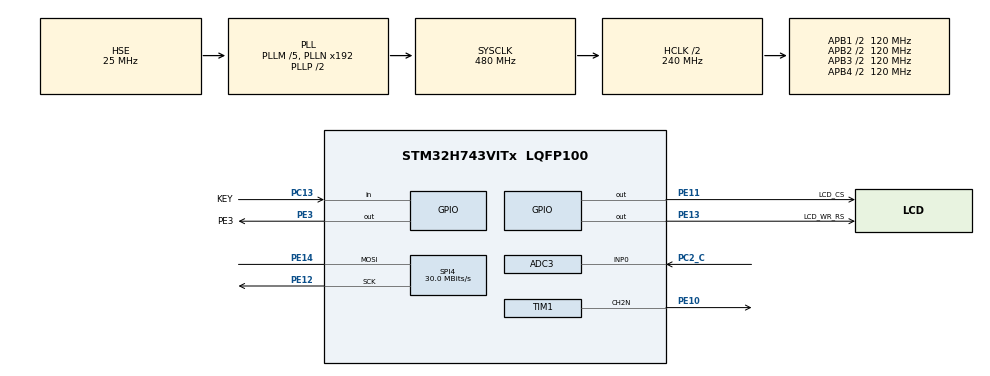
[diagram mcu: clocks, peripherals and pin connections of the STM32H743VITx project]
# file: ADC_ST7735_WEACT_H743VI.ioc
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ADC3.Channel-6\#ChannelRegularConversion=ADC_CHANNEL_0
ADC3.ContinuousConvMode=DISABLE
ADC3.NbrOfConversionFlag=1
ADC3.OffsetNumber-6\#ChannelRegularConversion=ADC_OFFSET_NONE
ADC3.OffsetSignedSaturation-6\#ChannelRegularConversion=DISABLE
ADC3.Rank-6\#ChannelRegularConversion=1
ADC3.SamplingTime-6\#ChannelRegularConversion=ADC_SAMPLETIME_1CYCLE_5
CORTEX_M7.default_mode_Activation=1
Mcu.Family=STM32H7
Mcu.Name=STM32H743VITx
Mcu.Package=LQFP100
NVIC.PriorityGroup=NVIC_PRIORITYGROUP_4
PC13.GPIO_Label=KEY
PC13.GPIO_PuPd=GPIO_PULLDOWN
PC13.Signal=GPIO_Input
PC14-OSC32_IN\ (OSC32_IN).Mode=LSE-External-Oscillator
PC14-OSC32_IN\ (OSC32_IN).Signal=RCC_OSC32_IN
PC15-OSC32_OUT\ (OSC32_OUT).Mode=LSE-External-Oscillator
PC15-OSC32_OUT\ (OSC32_OUT).Signal=RCC_OSC32_OUT
PC2_C.Mode=IN0-Single-Ended
PC2_C.Signal=ADC3_INP0
PE10.Mode=PWM Generation2 CH2N
PE10.Signal=TIM1_CH2N
PE11.GPIO_Label=LCD_CS
PE11.GPIO_Speed=GPIO_SPEED_FREQ_VERY_HIGH
PE11.PinState=GPIO_PIN_SET
PE11.Signal=GPIO_Output
PE12.GPIO_Speed=GPIO_SPEED_FREQ_MEDIUM
PE12.Mode=Simplex_Bidirectional_Master
PE12.Signal=SPI4_SCK
PE13.GPIO_Label=LCD_WR_RS
PE13.GPIO_Speed=GPIO_SPEED_FREQ_VERY_HIGH
PE13.PinState=GPIO_PIN_SET
PE13.Signal=GPIO_Output
PE14.GPIO_Speed=GPIO_SPEED_FREQ_MEDIUM
PE14.Mode=Simplex_Bidirectional_Master
PE14.Signal=SPI4_MOSI
PE3.GPIO_Label=PE3
PE3.Signal=GPIO_Output
PH0-OSC_IN\ (PH0).Mode=HSE-External-Oscillator
PH0-OSC_IN\ (PH0).Signal=RCC_OSC_IN
PH1-OSC_OUT\ (PH1).Mode=HSE-External-Oscillator
PH1-OSC_OUT\ (PH1).Signal=RCC_OSC_OUT
ProjectManager.HeapSize=0x200
ProjectManager.StackSize=0x400
ProjectManager.TargetToolchain=STM32CubeIDE
RCC.ADCFreq_Value=75000000
RCC.APB1Freq_Value=120000000
RCC.APB2Freq_Value=120000000
RCC.APB3Freq_Value=120000000
RCC.APB4Freq_Value=120000000
RCC.CortexFreq_Value=480000000
RCC.D1PPRE=RCC_APB3_DIV2
RCC.D2PPRE1=RCC_APB1_DIV2
RCC.D2PPRE2=RCC_APB2_DIV2
RCC.D3PPRE=RCC_APB4_DIV2
RCC.DIVM1=5
RCC.DIVM2=2
RCC.DIVN1=192
RCC.DIVN2=12
RCC.HCLKFreq_Value=240000000
RCC.HPRE=RCC_HCLK_DIV2
RCC.LSE_Drive_Capability=RCC_LSEDRIVE_HIGH
RCC.PLLFRACN=0
RCC.PLLSourceVirtual=RCC_PLLSOURCE_HSE
RCC.RTCClockSelection=RCC_RTCCLKSOURCE_LSE
RCC.SYSCLKFreq_VALUE=480000000
RCC.SYSCLKSource=RCC_SYSCLKSOURCE_PLLCLK
RCC.USBFreq_Value=480000000
SPI4.BaudRatePrescaler=SPI_BAUDRATEPRESCALER_4
SPI4.CalculateBaudRate=30.0 MBits/s
SPI4.DataSize=SPI_DATASIZE_8BIT
SPI4.Direction=SPI_DIRECTION_1LINE
SPI4.Mode=SPI_MODE_MASTER
SPI4.VirtualType=VM_MASTER
TIM1.Channel-PWM\ Generation2\ CH2N=TIM_CHANNEL_2
TIM1.OCNPolarity_2=TIM_OCNPOLARITY_HIGH
VP_MEMORYMAP_VS_MEMORYMAP.Mode=CurAppReg
VP_RTC_VS_RTC_Activate.Mode=RTC_Enabled
board=custom

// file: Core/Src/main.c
/* USER CODE BEGIN Header */
/**
  ******************************************************************************
  * @file           : main.c
  * @brief          : Main program body
  ******************************************************************************
  * @attention
  *
  * Copyright (c) 2026 STMicroelectronics.
  * All rights reserved.
  *
  * This software is licensed under terms that can be found in the LICENSE file
  * in the root directory of this software component.
  * If no LICENSE file comes with this software, it is provided AS-IS.
  *
  ******************************************************************************
  */
/* USER CODE END Header */
#include "main.h"

/* USER CODE BEGIN Includes */
#include "lcd.h"
/* USER CODE END Includes */

ADC_HandleTypeDef hadc3;

RTC_HandleTypeDef hrtc;

SPI_HandleTypeDef hspi4;

TIM_HandleTypeDef htim1;

void SystemClock_Config(void);
static void MX_GPIO_Init(void);
static void MX_ADC3_Init(void);
static void MX_RTC_Init(void);
static void MX_SPI4_Init(void);
static void MX_TIM1_Init(void);
/* USER CODE BEGIN PFP */
void LED_Blink(uint32_t delay);
/* USER CODE END PFP */

int main(void)
{

  /* MCU Configuration--------------------------------------------------------*/

  /* Reset of all peripherals, Initializes the Flash interface and the Systick. */
  HAL_Init();

  /* Configure the system clock */
  SystemClock_Config();

  /* Initialize all configured peripherals */
  MX_GPIO_Init();
  MX_ADC3_Init();
  MX_RTC_Init();
  MX_SPI4_Init();
  MX_TIM1_Init();
  /* USER CODE BEGIN 2 */
  LCD_Test();

  uint32_t adc = 0;
  float voltage = 0.0;
  uint8_t text[32];
  HAL_ADCEx_Calibration_Start(&hadc3, ADC_CALIB_OFFSET, ADC_SINGLE_ENDED);
  /* USER CODE END 2 */

  /* Infinite loop */
  while (1)
  {

    /* USER CODE BEGIN 3 */
	HAL_ADC_Start(&hadc3);

	if (HAL_ADC_PollForConversion(&hadc3, 100) == HAL_OK)
	{
		 adc = HAL_ADC_GetValue(&hadc3);
		 voltage = ((float)adc * 3.3f) / 65535.0f;
	}

	HAL_ADC_Stop(&hadc3);
	snprintf((char *)text,
	         sizeof(text),
	         "ADC:%5lu %.3fV",
	         adc,
	         voltage);
	LCD_ShowString(0, 46, ST7735Ctx.Width, 16, 12, text);

	LED_Blink(3);
  }
  /* USER CODE END 3 */
}

void SystemClock_Config(void)
{
  RCC_OscInitTypeDef RCC_OscInitStruct = {0};
  RCC_ClkInitTypeDef RCC_ClkInitStruct = {0};

  /** Supply configuration update enable
  */
  HAL_PWREx_ConfigSupply(PWR_LDO_SUPPLY);

  /** Configure the main internal regulator output voltage
  */
  __HAL_PWR_VOLTAGESCALING_CONFIG(PWR_REGULATOR_VOLTAGE_SCALE0);

  while(!__HAL_PWR_GET_FLAG(PWR_FLAG_VOSRDY)) {}

  /** Configure LSE Drive Capability
  */
  HAL_PWR_EnableBkUpAccess();
  __HAL_RCC_LSEDRIVE_CONFIG(RCC_LSEDRIVE_HIGH);

  /** Initializes the RCC Oscillators according to the specified parameters
  * in the RCC_OscInitTypeDef structure.
  */
  RCC_OscInitStruct.OscillatorType = RCC_OSCILLATORTYPE_HSE|RCC_OSCILLATORTYPE_LSE;
  RCC_OscInitStruct.HSEState = RCC_HSE_ON;
  RCC_OscInitStruct.LSEState = RCC_LSE_ON;
  RCC_OscInitStruct.PLL.PLLState = RCC_PLL_ON;
  RCC_OscInitStruct.PLL.PLLSource = RCC_PLLSOURCE_HSE;
  RCC_OscInitStruct.PLL.PLLM = 5;
  RCC_OscInitStruct.PLL.PLLN = 192;
  RCC_OscInitStruct.PLL.PLLP = 2;
  RCC_OscInitStruct.PLL.PLLQ = 2;
  RCC_OscInitStruct.PLL.PLLR = 2;
  RCC_OscInitStruct.PLL.PLLRGE = RCC_PLL1VCIRANGE_2;
  RCC_OscInitStruct.PLL.PLLVCOSEL = RCC_PLL1VCOWIDE;
  RCC_OscInitStruct.PLL.PLLFRACN = 0;
  if (HAL_RCC_OscConfig(&RCC_OscInitStruct) != HAL_OK)
  {
    Error_Handler();
  }

  /** Initializes the CPU, AHB and APB buses clocks
  */
  RCC_ClkInitStruct.ClockType = RCC_CLOCKTYPE_HCLK|RCC_CLOCKTYPE_SYSCLK
                              |RCC_CLOCKTYPE_PCLK1|RCC_CLOCKTYPE_PCLK2
                              |RCC_CLOCKTYPE_D3PCLK1|RCC_CLOCKTYPE_D1PCLK1;
  RCC_ClkInitStruct.SYSCLKSource = RCC_SYSCLKSOURCE_PLLCLK;
  RCC_ClkInitStruct.SYSCLKDivider = RCC_SYSCLK_DIV1;
  RCC_ClkInitStruct.AHBCLKDivider = RCC_HCLK_DIV2;
  RCC_ClkInitStruct.APB3CLKDivider = RCC_APB3_DIV2;
  RCC_ClkInitStruct.APB1CLKDivider = RCC_APB1_DIV2;
  RCC_ClkInitStruct.APB2CLKDivider = RCC_APB2_DIV2;
  RCC_ClkInitStruct.APB4CLKDivider = RCC_APB4_DIV2;

  if (HAL_RCC_ClockConfig(&RCC_ClkInitStruct, FLASH_LATENCY_4) != HAL_OK)
  {
    Error_Handler();
  }
}

static void MX_ADC3_Init(void)
{

  ADC_ChannelConfTypeDef sConfig = {0};

  /** Common config
  */
  hadc3.Instance = ADC3;
  hadc3.Init.Resolution = ADC_RESOLUTION_16B;
  hadc3.Init.ScanConvMode = ADC_SCAN_DISABLE;
  hadc3.Init.EOCSelection = ADC_EOC_SINGLE_CONV;
  hadc3.Init.LowPowerAutoWait = DISABLE;
  hadc3.Init.ContinuousConvMode = DISABLE;
  hadc3.Init.NbrOfConversion = 1;
  hadc3.Init.DiscontinuousConvMode = DISABLE;
  hadc3.Init.ExternalTrigConv = ADC_SOFTWARE_START;
  hadc3.Init.ExternalTrigConvEdge = ADC_EXTERNALTRIGCONVEDGE_NONE;
  hadc3.Init.ConversionDataManagement = ADC_CONVERSIONDATA_DR;
  hadc3.Init.Overrun = ADC_OVR_DATA_PRESERVED;
  hadc3.Init.LeftBitShift = ADC_LEFTBITSHIFT_NONE;
  hadc3.Init.OversamplingMode = DISABLE;
  hadc3.Init.Oversampling.Ratio = 1;
  if (HAL_ADC_Init(&hadc3) != HAL_OK)
  {
    Error_Handler();
  }

  /** Configure Regular Channel
  */
  sConfig.Channel = ADC_CHANNEL_0;
  sConfig.Rank = ADC_REGULAR_RANK_1;
  sConfig.SamplingTime = ADC_SAMPLETIME_1CYCLE_5;
  sConfig.SingleDiff = ADC_SINGLE_ENDED;
  sConfig.OffsetNumber = ADC_OFFSET_NONE;
  sConfig.Offset = 0;
  sConfig.OffsetSignedSaturation = DISABLE;
  if (HAL_ADC_ConfigChannel(&hadc3, &sConfig) != HAL_OK)
  {
    Error_Handler();
  }

}

static void MX_RTC_Init(void)
{

  /** Initialize RTC Only
  */
  hrtc.Instance = RTC;
  hrtc.Init.HourFormat = RTC_HOURFORMAT_24;
  hrtc.Init.AsynchPrediv = 127;
  hrtc.Init.SynchPrediv = 255;
  hrtc.Init.OutPut = RTC_OUTPUT_DISABLE;
  hrtc.Init.OutPutPolarity = RTC_OUTPUT_POLARITY_HIGH;
  hrtc.Init.OutPutType = RTC_OUTPUT_TYPE_OPENDRAIN;
  hrtc.Init.OutPutRemap = RTC_OUTPUT_REMAP_NONE;
  if (HAL_RTC_Init(&hrtc) != HAL_OK)
  {
    Error_Handler();
  }

}

static void MX_SPI4_Init(void)
{

  /* SPI4 parameter configuration*/
  hspi4.Instance = SPI4;
  hspi4.Init.Mode = SPI_MODE_MASTER;
  hspi4.Init.Direction = SPI_DIRECTION_1LINE;
  hspi4.Init.DataSize = SPI_DATASIZE_8BIT;
  hspi4.Init.CLKPolarity = SPI_POLARITY_LOW;
  hspi4.Init.CLKPhase = SPI_PHASE_1EDGE;
  hspi4.Init.NSS = SPI_NSS_SOFT;
  hspi4.Init.BaudRatePrescaler = SPI_BAUDRATEPRESCALER_4;
  hspi4.Init.FirstBit = SPI_FIRSTBIT_MSB;
  hspi4.Init.TIMode = SPI_TIMODE_DISABLE;
  hspi4.Init.CRCCalculation = SPI_CRCCALCULATION_DISABLE;
  hspi4.Init.CRCPolynomial = 0x0;
  hspi4.Init.NSSPMode = SPI_NSS_PULSE_ENABLE;
  hspi4.Init.NSSPolarity = SPI_NSS_POLARITY_LOW;
  hspi4.Init.FifoThreshold = SPI_FIFO_THRESHOLD_01DATA;
  hspi4.Init.TxCRCInitializationPattern = SPI_CRC_INITIALIZATION_ALL_ZERO_PATTERN;
  hspi4.Init.RxCRCInitializationPattern = SPI_CRC_INITIALIZATION_ALL_ZERO_PATTERN;
  hspi4.Init.MasterSSIdleness = SPI_MASTER_SS_IDLENESS_00CYCLE;
  hspi4.Init.MasterInterDataIdleness = SPI_MASTER_INTERDATA_IDLENESS_00CYCLE;
  hspi4.Init.MasterReceiverAutoSusp = SPI_MASTER_RX_AUTOSUSP_DISABLE;
  hspi4.Init.MasterKeepIOState = SPI_MASTER_KEEP_IO_STATE_DISABLE;
  hspi4.Init.IOSwap = SPI_IO_SWAP_DISABLE;
  if (HAL_SPI_Init(&hspi4) != HAL_OK)
  {
    Error_Handler();
  }

}

static void MX_TIM1_Init(void)
{

  TIM_MasterConfigTypeDef sMasterConfig = {0};
  TIM_OC_InitTypeDef sConfigOC = {0};
  TIM_BreakDeadTimeConfigTypeDef sBreakDeadTimeConfig = {0};

  htim1.Instance = TIM1;
  htim1.Init.Prescaler = 0;
  htim1.Init.CounterMode = TIM_COUNTERMODE_UP;
  htim1.Init.Period = 65535;
  htim1.Init.ClockDivision = TIM_CLOCKDIVISION_DIV1;
  htim1.Init.RepetitionCounter = 0;
  htim1.Init.AutoReloadPreload = TIM_AUTORELOAD_PRELOAD_DISABLE;
  if (HAL_TIM_PWM_Init(&htim1) != HAL_OK)
  {
    Error_Handler();
  }
  sMasterConfig.MasterOutputTrigger = TIM_TRGO_RESET;
  sMasterConfig.MasterOutputTrigger2 = TIM_TRGO2_RESET;
  sMasterConfig.MasterSlaveMode = TIM_MASTERSLAVEMODE_DISABLE;
  if (HAL_TIMEx_MasterConfigSynchronization(&htim1, &sMasterConfig) != HAL_OK)
  {
    Error_Handler();
  }
  sConfigOC.OCMode = TIM_OCMODE_PWM1;
  sConfigOC.Pulse = 0;
  sConfigOC.OCPolarity = TIM_OCPOLARITY_HIGH;
  sConfigOC.OCNPolarity = TIM_OCNPOLARITY_HIGH;
  sConfigOC.OCFastMode = TIM_OCFAST_DISABLE;
  sConfigOC.OCIdleState = TIM_OCIDLESTATE_RESET;
  sConfigOC.OCNIdleState = TIM_OCNIDLESTATE_RESET;
  if (HAL_TIM_PWM_ConfigChannel(&htim1, &sConfigOC, TIM_CHANNEL_2) != HAL_OK)
  {
    Error_Handler();
  }
  sBreakDeadTimeConfig.OffStateRunMode = TIM_OSSR_DISABLE;
  sBreakDeadTimeConfig.OffStateIDLEMode = TIM_OSSI_DISABLE;
  sBreakDeadTimeConfig.LockLevel = TIM_LOCKLEVEL_OFF;
  sBreakDeadTimeConfig.DeadTime = 0;
  sBreakDeadTimeConfig.BreakState = TIM_BREAK_DISABLE;
  sBreakDeadTimeConfig.BreakPolarity = TIM_BREAKPOLARITY_HIGH;
  sBreakDeadTimeConfig.BreakFilter = 0;
  sBreakDeadTimeConfig.Break2State = TIM_BREAK2_DISABLE;
  sBreakDeadTimeConfig.Break2Polarity = TIM_BREAK2POLARITY_HIGH;
  sBreakDeadTimeConfig.Break2Filter = 0;
  sBreakDeadTimeConfig.AutomaticOutput = TIM_AUTOMATICOUTPUT_DISABLE;
  if (HAL_TIMEx_ConfigBreakDeadTime(&htim1, &sBreakDeadTimeConfig) != HAL_OK)
  {
    Error_Handler();
  }
  HAL_TIM_MspPostInit(&htim1);

}

static void MX_GPIO_Init(void)
{
  GPIO_InitTypeDef GPIO_InitStruct = {0};

  /* GPIO Ports Clock Enable */
  __HAL_RCC_GPIOE_CLK_ENABLE();
  __HAL_RCC_GPIOC_CLK_ENABLE();
  __HAL_RCC_GPIOH_CLK_ENABLE();

  /*Configure GPIO pin Output Level */
  HAL_GPIO_WritePin(PE3_GPIO_Port, PE3_Pin, GPIO_PIN_RESET);

  /*Configure GPIO pin Output Level */
  HAL_GPIO_WritePin(GPIOE, LCD_CS_Pin|LCD_WR_RS_Pin, GPIO_PIN_SET);

  /*Configure GPIO pin : PE3_Pin */
  GPIO_InitStruct.Pin = PE3_Pin;
  GPIO_InitStruct.Mode = GPIO_MODE_OUTPUT_PP;
  GPIO_InitStruct.Pull = GPIO_NOPULL;
  GPIO_InitStruct.Speed = GPIO_SPEED_FREQ_LOW;
  HAL_GPIO_Init(PE3_GPIO_Port, &GPIO_InitStruct);

  /*Configure GPIO pin : KEY_Pin */
  GPIO_InitStruct.Pin = KEY_Pin;
  GPIO_InitStruct.Mode = GPIO_MODE_INPUT;
  GPIO_InitStruct.Pull = GPIO_PULLDOWN;
  HAL_GPIO_Init(KEY_GPIO_Port, &GPIO_InitStruct);

  /*Configure GPIO pins : LCD_CS_Pin LCD_WR_RS_Pin */
  GPIO_InitStruct.Pin = LCD_CS_Pin|LCD_WR_RS_Pin;
  GPIO_InitStruct.Mode = GPIO_MODE_OUTPUT_PP;
  GPIO_InitStruct.Pull = GPIO_NOPULL;
  GPIO_InitStruct.Speed = GPIO_SPEED_FREQ_VERY_HIGH;
  HAL_GPIO_Init(GPIOE, &GPIO_InitStruct);

}

/* USER CODE BEGIN 4 */
void LED_Blink(uint32_t delay)
{
	HAL_GPIO_WritePin(PE3_GPIO_Port,PE3_Pin,GPIO_PIN_SET);
	HAL_Delay(delay - 1);
	HAL_GPIO_WritePin(PE3_GPIO_Port,PE3_Pin,GPIO_PIN_RESET);
	HAL_Delay(500-1);
}
/* USER CODE END 4 */

void Error_Handler(void)
{
  __disable_irq();
  while (1)
  {
  }
}
